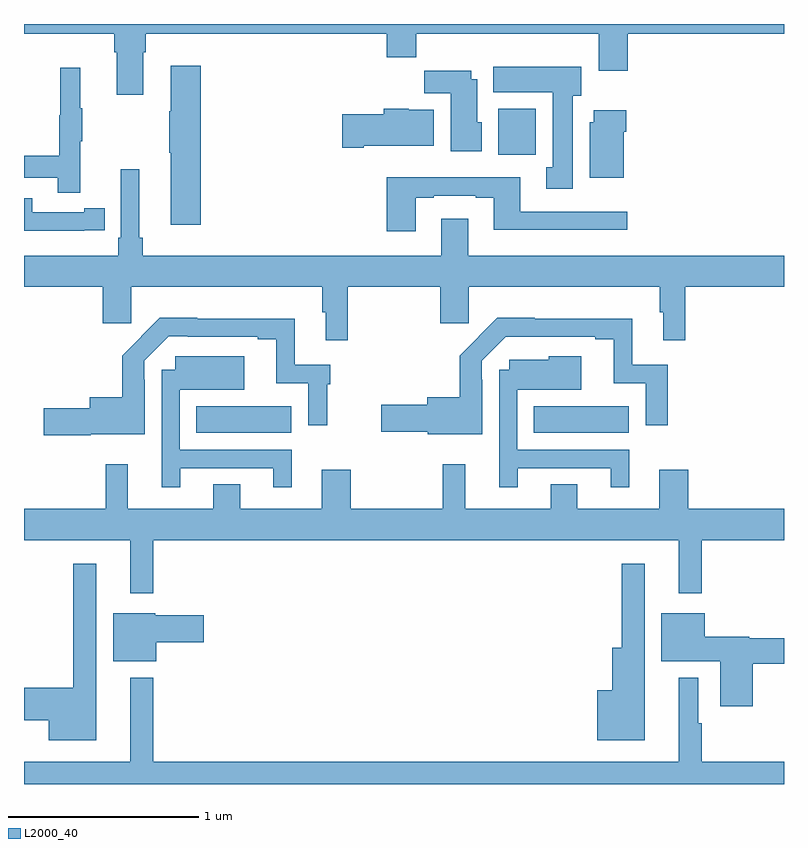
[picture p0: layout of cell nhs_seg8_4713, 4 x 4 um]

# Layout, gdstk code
import gdstk
lib = gdstk.Library(unit=1e-6, precision=1e-09)
def R(c, l, rs):  # rectangles x0, y0, x1, y1
    for r in rs: c.add(gdstk.rectangle(r[:2], r[2:], *l))
def P(c, l, *ps):  # polygons
    for p in ps: c.add(gdstk.Polygon(p, *l))
L2000_40 = (2000, 40)

nhs_seg8_4713 = lib.new_cell('nhs_seg8_4713')
R(nhs_seg8_4713, L2000_40, [(397.906,1099.748,398.407,1099.888), (399.682,1099.748,400.183,1099.888), (399.497,1101.212,399.694,1101.454)])
P(nhs_seg8_4713, L2000_40, [(397.627,1101.752),(397.64,1101.752),(397.64,1101.848),(398.909,1101.848),(398.909,1101.724),(399.065,1101.724),(399.065,1101.848),(400.025,1101.848),(400.025,1101.654),(400.178,1101.654),(400.178,1101.848),(401,1101.848),(401,1101.9),(397,1101.9),(397,1101.848),(397.475,1101.848),(397.475,1101.752),(397.487,1101.752),(397.487,1101.528),(397.627,1101.528)],
  [(397.931,1101.679),(397.772,1101.679),(397.772,1101.44),(397.765,1101.44),(397.765,1101.223),(397.772,1101.223),(397.772,1100.844),(397.931,1100.844)],
  [(399.889,1101.522),(399.934,1101.522),(399.934,1101.676),(399.47,1101.676),(399.47,1101.542),(399.782,1101.542),(399.782,1101.146),(399.749,1101.146),(399.749,1101.033),(399.889,1101.033)],
  [(397.295,1101.283),(397.306,1101.283),(397.306,1101.457),(397.295,1101.457),(397.295,1101.67),(397.192,1101.67),(397.192,1101.42),(397.185,1101.42),(397.185,1101.206),(397,1101.206),(397,1101.09),(397.177,1101.09),(397.177,1101.012),(397.295,1101.012)],
  [(399.409,1101.384),(399.385,1101.384),(399.385,1101.61),(399.355,1101.61),(399.355,1101.655),(399.106,1101.655),(399.106,1101.536),(399.245,1101.536),(399.245,1101.23),(399.409,1101.23)],
  [(398.788,1101.26),(399.157,1101.26),(399.157,1101.448),(399.024,1101.448),(399.024,1101.454),(398.894,1101.454),(398.894,1101.426),(398.676,1101.426),(398.676,1101.248),(398.788,1101.248)],
  [(400.156,1101.332),(400.169,1101.332),(400.169,1101.445),(399.998,1101.445),(399.998,1101.384),(399.977,1101.384),(399.977,1101.092),(400.156,1101.092)],
  [(398.705,1100.516),(399.191,1100.516),(399.191,1100.325),(399.341,1100.325),(399.341,1100.516),(400.345,1100.516),(400.345,1100.384),(400.364,1100.384),(400.364,1100.235),(400.481,1100.235),(400.481,1100.516),(401,1100.516),(401,1100.68),(399.337,1100.68),(399.337,1100.875),(399.197,1100.875),(399.197,1100.68),(397.625,1100.68),(397.625,1100.776),(397.606,1100.776),(397.606,1101.136),(397.509,1101.136),(397.509,1100.776),(397.496,1100.776),(397.496,1100.68),(397,1100.68),(397,1100.516),(397.415,1100.516),(397.415,1100.325),(397.565,1100.325),(397.565,1100.516),(398.569,1100.516),(398.569,1100.384),(398.588,1100.384),(398.588,1100.235),(398.705,1100.235)],
  [(399.061,1100.985),(399.157,1100.985),(399.157,1100.997),(399.377,1100.997),(399.377,1100.985),(399.473,1100.985),(399.473,1100.816),(400.174,1100.816),(400.174,1100.913),(399.613,1100.913),(399.613,1101.094),(398.909,1101.094),(398.909,1100.808),(399.061,1100.808)],
  [(397.316,1100.814),(397.424,1100.814),(397.424,1100.93),(397.316,1100.93),(397.316,1100.91),(397.044,1100.91),(397.044,1100.982),(397,1100.982),(397,1100.813),(397.316,1100.813)],
  [(399.411,1100.027),(399.408,1100.027),(399.408,1100.127),(399.536,1100.255),(399.637,1100.255),(399.637,1100.253),(400.007,1100.253),(400.007,1100.241),(400.103,1100.241),(400.103,1100.01),(400.272,1100.01),(400.272,1099.788),(400.388,1099.788),(400.388,1100.106),(400.201,1100.106),(400.201,1100.35),(399.689,1100.35),(399.689,1100.353),(399.49,1100.353),(399.293,1100.155),(399.293,1099.936),(399.122,1099.936),(399.122,1099.895),(398.88,1099.895),(398.88,1099.753),(399.126,1099.753),(399.126,1099.742),(399.411,1099.742)],
  [(397.35,1099.742),(397.635,1099.742),(397.635,1100.027),(397.632,1100.027),(397.632,1100.127),(397.761,1100.256),(397.861,1100.256),(397.861,1100.253),(398.231,1100.253),(398.231,1100.241),(398.327,1100.241),(398.327,1100.01),(398.496,1100.01),(398.496,1099.788),(398.597,1099.788),(398.597,1100.003),(398.612,1100.003),(398.612,1100.106),(398.425,1100.106),(398.425,1100.35),(397.913,1100.35),(397.913,1100.353),(397.714,1100.353),(397.517,1100.155),(397.517,1099.936),(397.346,1099.936),(397.346,1099.877),(397.104,1099.877),(397.104,1099.735),(397.35,1099.735)],
  [(397.822,1099.563),(398.312,1099.563),(398.312,1099.461),(398.41,1099.461),(398.41,1099.659),(397.821,1099.659),(397.821,1099.976),(398.158,1099.976),(398.158,1100.152),(397.797,1100.152),(397.797,1100.079),(397.725,1100.079),(397.725,1099.461),(397.822,1099.461)],
  [(399.598,1099.563),(400.088,1099.563),(400.088,1099.461),(400.186,1099.461),(400.186,1099.659),(399.597,1099.659),(399.597,1099.976),(399.934,1099.976),(399.934,1100.152),(399.762,1100.152),(399.762,1100.134),(399.555,1100.134),(399.555,1100.079),(399.501,1100.079),(399.501,1099.461),(399.598,1099.461)],
  [(397.681,1099.184),(400.445,1099.184),(400.445,1098.903),(400.567,1098.903),(400.567,1099.184),(401,1099.184),(401,1099.348),(400.496,1099.348),(400.496,1099.555),(400.343,1099.555),(400.343,1099.348),(399.913,1099.348),(399.913,1099.478),(399.773,1099.478),(399.773,1099.348),(399.323,1099.348),(399.323,1099.582),(399.205,1099.582),(399.205,1099.348),(398.72,1099.348),(398.72,1099.555),(398.567,1099.555),(398.567,1099.348),(398.137,1099.348),(398.137,1099.478),(397.997,1099.478),(397.997,1099.348),(397.547,1099.348),(397.547,1099.582),(397.429,1099.582),(397.429,1099.348),(397,1099.348),(397,1099.184),(397.559,1099.184),(397.559,1098.903),(397.681,1098.903)],
  [(400.267,1099.06),(400.146,1099.06),(400.146,1098.616),(400.097,1098.616),(400.097,1098.394),(400.016,1098.394),(400.016,1098.131),(400.267,1098.131)],
  [(397.381,1099.06),(397.26,1099.06),(397.26,1098.407),(397,1098.407),(397,1098.236),(397.13,1098.236),(397.13,1098.131),(397.381,1098.131)],
  [(397.696,1098.647),(397.945,1098.647),(397.945,1098.789),(397.692,1098.789),(397.692,1098.799),(397.469,1098.799),(397.469,1098.545),(397.696,1098.545)],
  [(400.835,1098.532),(401,1098.532),(401,1098.668),(400.818,1098.668),(400.818,1098.676),(400.582,1098.676),(400.582,1098.799),(400.355,1098.799),(400.355,1098.545),(400.664,1098.545),(400.664,1098.309),(400.835,1098.309)],
  [(401,1098.016),(400.567,1098.016),(400.567,1098.221),(400.549,1098.221),(400.549,1098.46),(400.445,1098.46),(400.445,1098.016),(397.681,1098.016),(397.681,1098.46),(397.559,1098.46),(397.559,1098.016),(397,1098.016),(397,1097.9),(401,1097.9)])

lib.write_gds('nhs_seg8_4713.gds')
